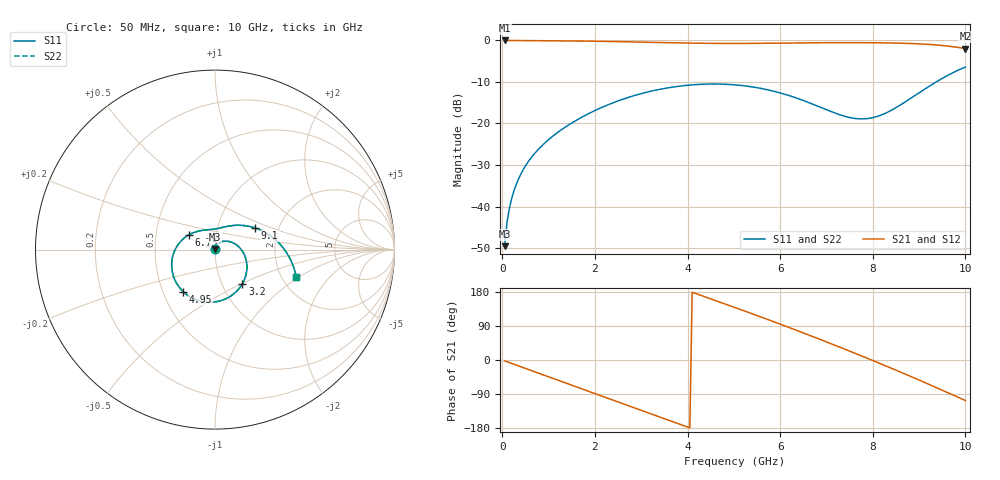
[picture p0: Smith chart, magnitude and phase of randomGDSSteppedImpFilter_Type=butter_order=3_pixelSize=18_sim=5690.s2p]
! freq	dB(S11)	phase(S11)	dB(S12)	phase(S12)
!  dB(S21)	phase(S21)	dB(S22)	phase(S22)
!S-par simulation data
#  GHz  S  DB  R 50
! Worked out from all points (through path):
!   200 points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, 50 MHz to 10 GHz, reference 50 ohm
!   highest |S21| = 0.00 dB at 50 MHz (marker M1); lowest = -1.9 dB at 10 GHz (marker M2)
!   group delay of S21, straight-line fit = 128 ps
!   lowest |S11| = -49.6 dB at 50 MHz (marker M3), VSWR 1.01, Z = 50 + j0.33 ohm
!   |S11| at or under -10 dB: start of sweep to 9.37 GHz
!   |S22| runs from -49.6 to -6.4 dB; largest |S21 - S12| = 0
!   S11 on the Smith chart (normalised r, x): 50 MHz: 1.00, +0.01; 3.2 GHz: 1.25, -0.50; 4.95 GHz: 0.63, -0.33; 6.75 GHz: 0.74, +0.13; 9.1 GHz: 1.52, +0.39; 10 GHz: 2.38, -0.96
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0.05  -49.56 82.1  -0.00 -2.2  -0.00 -2.2  -49.56 82.1
0.1  -43.98 81.1  -0.01 -4.5  -0.01 -4.5  -43.98 81.1
0.2  -38.19 78.5  -0.01 -8.9  -0.01 -8.9  -38.19 78.5
0.5  -30.23 67.1  -0.03 -22.2  -0.03 -22.2  -30.23 67.1
1.15  -22.54 39.2  -0.08 -51.0  -0.08 -51.0  -22.54 39.2
1.75  -18.29 12.8  -0.15 -77.7  -0.15 -77.7  -18.29 12.8
2.45  -14.77 -18.2  -0.27 -108.7  -0.27 -108.7  -14.77 -18.2
3.2  -12.25 -51.3  -0.45 -141.8  -0.45 -141.8  -12.25 -51.3
3.4  -11.77 -60.0  -0.49 -150.6  -0.49 -150.6  -11.77 -60.0
4.15  -10.66 -92.5  -0.65 176.7  -0.65 176.7  -10.66 -92.5
4.95  -10.64 -127.1  -0.72 141.7  -0.72 141.7  -10.64 -127.1
5.05  -10.72 -131.4  -0.72 137.3  -0.72 137.3  -10.72 -131.5
5.9  -12.34 -169.3  -0.65 99.3  -0.65 99.3  -12.34 -169.3
6.3  -13.67 172.2  -0.60 80.8  -0.60 80.8  -13.67 172.1
6.7  -15.33 152.9  -0.56 62.0  -0.56 62.0  -15.33 152.9
6.75  -15.55 150.4  -0.55 59.7  -0.55 59.7  -15.55 150.4
7.6  -18.76 105.8  -0.53 18.5  -0.53 18.5  -18.76 105.9
8  -18.60 84.2  -0.55 -1.3  -0.55 -1.3  -18.60 84.3
8.35  -17.12 65.9  -0.60 -19.0  -0.60 -19.0  -17.12 66.0
9.1  -11.89 28.2  -0.88 -58.2  -0.88 -58.2  -11.88 28.3
9.55  -8.83 5.1  -1.27 -82.5  -1.27 -82.5  -8.83 5.2
10  -6.41 -18.9  -1.94 -106.9  -1.94 -106.9  -6.41 -18.8
